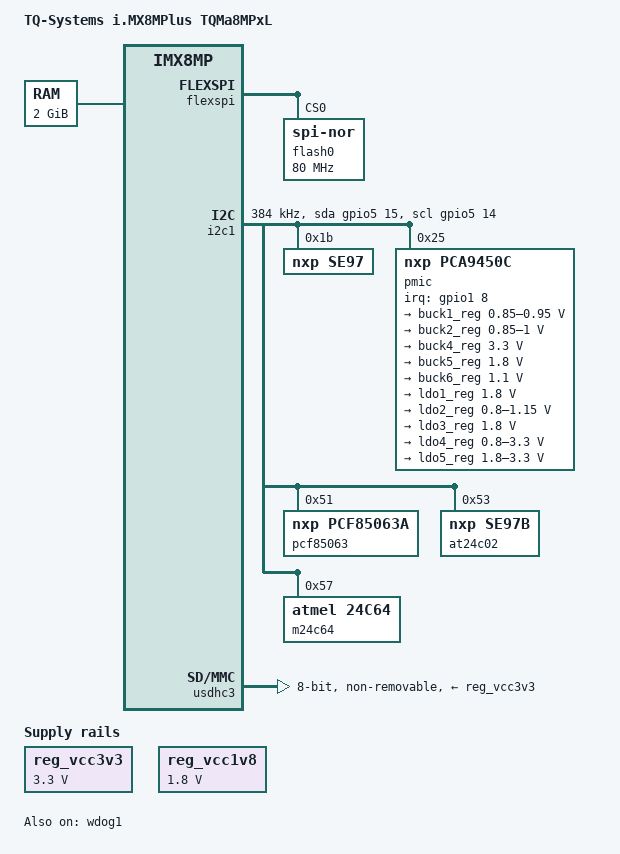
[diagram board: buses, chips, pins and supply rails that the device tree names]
// SPDX-License-Identifier: GPL-2.0-or-later OR MIT
/*
 * Copyright 2021 TQ-Systems GmbH
 */

#include "imx8mp.dtsi"

/ {
	model = "TQ-Systems i.MX8MPlus TQMa8MPxL";
	compatible = "tq,imx8mp-tqma8mpxl", "fsl,imx8mp";

	memory@40000000 {
		device_type = "memory";
		reg = <0x0 0x40000000 0 0x80000000>;
	};

	/* identical to buck4_reg, but should never change */
	reg_vcc3v3: regulator-vcc3v3 {
		compatible = "regulator-fixed";
		regulator-name = "TQMA8MPXL_VCC3V3";
		regulator-min-microvolt = <3300000>;
		regulator-max-microvolt = <3300000>;
		regulator-always-on;
	};

	/* e-MMC IO, needed for HS modes */
	reg_vcc1v8: regulator-vcc1v8 {
		compatible = "regulator-fixed";
		regulator-name = "TQMA8MPXL_VCC1V8";
		regulator-min-microvolt = <1800000>;
		regulator-max-microvolt = <1800000>;
		regulator-always-on;
	};
};

&flexspi {
	pinctrl-names = "default";
	pinctrl-0 = <&pinctrl_flexspi0>;
	num-cs = <1>;
	status = "okay";

	flash0: flash@0 {
		reg = <0>;
		#address-cells = <1>;
		#size-cells = <1>;
		compatible = "jedec,spi-nor";
		spi-max-frequency = <80000000>;
		spi-tx-bus-width = <4>;
		spi-rx-bus-width = <4>;
		/* used for macronix flash only */
		macronix,dsr = <0x3>;
		/* used for micron flash only */
		micron,dsr = <0x3>;
	};
};

&i2c1 {
	/* Errata: limit clk to <= 384000 Hz */
	clock-frequency = <384000>;
	pinctrl-names = "default", "gpio";
	pinctrl-0 = <&pinctrl_i2c1>;
	pinctrl-1 = <&pinctrl_i2c1_gpio>;
	scl-gpios = <&gpio5 14 (GPIO_ACTIVE_HIGH | GPIO_OPEN_DRAIN)>;
	sda-gpios = <&gpio5 15 (GPIO_ACTIVE_HIGH | GPIO_OPEN_DRAIN)>;
	status = "okay";

	/* NXP SE97BTP with temperature sensor + eeprom */
	se97: temperature-sensor-eeprom@1b {
		compatible = "nxp,se97", "jedec,jc-42.4-temp";
		reg = <0x1b>;
	};

	pmic: pmic@25 {
		reg = <0x25>;
		compatible = "nxp,pca9450c";
		/* PMIC PCA9450 PMIC_nINT GPIO1_IO8 */
		pinctrl-0 = <&pinctrl_pmic>;
		pinctrl-names = "default";
		interrupt-parent = <&gpio1>;
		interrupts = <8 IRQ_TYPE_LEVEL_LOW>;

		regulators {
			#address-cells = <1>;
			#size-cells = <0>;

			pca9450,pmic-buck2-uses-i2c-dvs;
			/* Run/Standby voltage */
			pca9450,pmic-buck2-dvs-voltage = <950000>, <850000>;

			/* V_0V85_SOC: 0.85 .. 0.95 */
			buck1_reg: regulator@0 {
				reg = <0>;
				regulator-compatible = "buck1";
				regulator-min-microvolt = <850000>;
				regulator-max-microvolt = <950000>;
				regulator-boot-on;
				regulator-always-on;
				regulator-ramp-delay = <3125>;
			};

			/* VDD_ARM */
			buck2_reg: regulator@1 {
				reg = <1>;
				regulator-compatible = "buck2";
				regulator-min-microvolt = <850000>;
				regulator-max-microvolt = <1000000>;
				regulator-boot-on;
				regulator-always-on;
				regulator-ramp-delay = <3125>;
			};

			/* VCC3V3 -> VMMC, ... must not be changed */
			buck4_reg: regulator@3 {
				reg = <3>;
				regulator-compatible = "buck4";
				regulator-min-microvolt = <3300000>;
				regulator-max-microvolt = <3300000>;
				regulator-boot-on;
				regulator-always-on;
			};

			/* V_1V8 -> VQMMC, SPI-NOR, ... must not be changed */
			buck5_reg: regulator@4 {
				reg = <4>;
				regulator-compatible = "buck5";
				regulator-min-microvolt = <1800000>;
				regulator-max-microvolt = <1800000>;
				regulator-boot-on;
				regulator-always-on;
			};

			buck6_reg: regulator@5 {
				reg = <5>;
				regulator-compatible = "buck6";
				regulator-min-microvolt = <1100000>;
				regulator-max-microvolt = <1100000>;
				regulator-boot-on;
				regulator-always-on;
			};

			/* V_1V8_SNVS */
			ldo1_reg: regulator@6 {
				reg = <6>;
				regulator-compatible = "ldo1";
				regulator-min-microvolt = <1800000>;
				regulator-max-microvolt = <1800000>;
				regulator-boot-on;
				regulator-always-on;
			};

			ldo2_reg: regulator@7 {
				reg = <7>;
				regulator-compatible = "ldo2";
				regulator-min-microvolt = <800000>;
				regulator-max-microvolt = <1150000>;
				/*
				 * NOTE:
				 * even if this is an unused supply, it must not
				 * disabled, otherwise the system hits an POR
				 */
				regulator-boot-on;
				regulator-always-on;
			};

			/* V_1V8_ANA */
			ldo3_reg: regulator@8 {
				reg = <8>;
				regulator-compatible = "ldo3";
				regulator-min-microvolt = <1800000>;
				regulator-max-microvolt = <1800000>;
				regulator-boot-on;
				regulator-always-on;
			};

			/* unused */
			ldo4_reg: regulator@9 {
				reg = <9>;
				regulator-compatible = "ldo4";
				regulator-min-microvolt = <800000>;
				regulator-max-microvolt = <3300000>;
			};

			/* VCC SD IO - switched using SD2 VSELECT */
			ldo5_reg: regulator@10 {
				reg = <10>;
				regulator-compatible = "ldo5";
				regulator-min-microvolt = <1800000>;
				regulator-max-microvolt = <3300000>;
			};
		};
	};

	pcf85063: rtc@51 {
		compatible = "nxp,pcf85063a";
		reg = <0x51>;
	};

	at24c02: eeprom@53 {
		compatible = "nxp,se97b", "atmel,24c02";
		reg = <0x53>;
		pagesize = <16>;
	};

	m24c64: eeprom@57 {
		compatible = "atmel,24c64";
		reg = <0x57>;
		pagesize = <32>;
	};
};

&iomuxc {
	pinctrl_flexspi0: flexspi0grp {
		fsl,pins = <
			MX8MP_IOMUXC_NAND_ALE__FLEXSPI_A_SCLK		0x142
			MX8MP_IOMUXC_NAND_CE0_B__FLEXSPI_A_SS0_B	0x82
			MX8MP_IOMUXC_NAND_DATA00__FLEXSPI_A_DATA00	0x82
			MX8MP_IOMUXC_NAND_DATA01__FLEXSPI_A_DATA01	0x82
			MX8MP_IOMUXC_NAND_DATA02__FLEXSPI_A_DATA02	0x82
			MX8MP_IOMUXC_NAND_DATA03__FLEXSPI_A_DATA03	0x82
		>;
	};

	pinctrl_i2c1: i2c1grp {
		fsl,pins = <
			MX8MP_IOMUXC_I2C1_SCL__I2C1_SCL		0x400001e2
			MX8MP_IOMUXC_I2C1_SDA__I2C1_SDA		0x400001e2
		>;
	};

	pinctrl_i2c1_gpio: i2c1grp-gpio {
		fsl,pins = <
			MX8MP_IOMUXC_I2C1_SCL__GPIO5_IO14	0x400001e2
			MX8MP_IOMUXC_I2C1_SDA__GPIO5_IO15	0x400001e2
		>;
	};

	pinctrl_pmic: pmicirq {
		fsl,pins = <
			MX8MP_IOMUXC_GPIO1_IO08__GPIO1_IO08	0x1c0
		>;
	};

	pinctrl_reg_usdhc2_vmmc: regusdhc2vmmc {
		fsl,pins = <
			MX8MP_IOMUXC_SD2_RESET_B__GPIO2_IO19	0x140
		>;
	};

	pinctrl_usdhc3: usdhc3grp {
		fsl,pins = <
			MX8MP_IOMUXC_NAND_WE_B__USDHC3_CLK	0x194
			MX8MP_IOMUXC_NAND_WP_B__USDHC3_CMD	0x1d4
			MX8MP_IOMUXC_NAND_DATA04__USDHC3_DATA0	0x1d4
			MX8MP_IOMUXC_NAND_DATA05__USDHC3_DATA1	0x1d4
			MX8MP_IOMUXC_NAND_DATA06__USDHC3_DATA2	0x1d4
			MX8MP_IOMUXC_NAND_DATA07__USDHC3_DATA3	0x1d4
			MX8MP_IOMUXC_NAND_RE_B__USDHC3_DATA4	0x1d4
			MX8MP_IOMUXC_NAND_CE2_B__USDHC3_DATA5	0x1d4
			MX8MP_IOMUXC_NAND_CE3_B__USDHC3_DATA6	0x1d4
			MX8MP_IOMUXC_NAND_CLE__USDHC3_DATA7	0x1d4
			MX8MP_IOMUXC_NAND_CE1_B__USDHC3_STROBE	0x84
			MX8MP_IOMUXC_NAND_READY_B__USDHC3_RESET_B	0x84
		>;
	};

	pinctrl_usdhc3_100mhz: usdhc3grp-100mhz {
		fsl,pins = <
			MX8MP_IOMUXC_NAND_WE_B__USDHC3_CLK	0x194
			MX8MP_IOMUXC_NAND_WP_B__USDHC3_CMD	0x1d4
			MX8MP_IOMUXC_NAND_DATA04__USDHC3_DATA0	0x1d4
			MX8MP_IOMUXC_NAND_DATA05__USDHC3_DATA1	0x1d4
			MX8MP_IOMUXC_NAND_DATA06__USDHC3_DATA2	0x1d4
			MX8MP_IOMUXC_NAND_DATA07__USDHC3_DATA3	0x1d4
			MX8MP_IOMUXC_NAND_RE_B__USDHC3_DATA4	0x1d4
			MX8MP_IOMUXC_NAND_CE2_B__USDHC3_DATA5	0x1d4
			MX8MP_IOMUXC_NAND_CE3_B__USDHC3_DATA6	0x1d4
			MX8MP_IOMUXC_NAND_CLE__USDHC3_DATA7	0x1d4
			MX8MP_IOMUXC_NAND_CE1_B__USDHC3_STROBE	0x84
			MX8MP_IOMUXC_NAND_READY_B__USDHC3_RESET_B	0x84
		>;
	};

	pinctrl_usdhc3_200mhz: usdhc3grp-200mhz {
		fsl,pins = <
			MX8MP_IOMUXC_NAND_WE_B__USDHC3_CLK	0x194
			MX8MP_IOMUXC_NAND_WP_B__USDHC3_CMD	0x1d4
			MX8MP_IOMUXC_NAND_DATA04__USDHC3_DATA0	0x1d4
			MX8MP_IOMUXC_NAND_DATA05__USDHC3_DATA1	0x1d4
			MX8MP_IOMUXC_NAND_DATA06__USDHC3_DATA2	0x1d4
			MX8MP_IOMUXC_NAND_DATA07__USDHC3_DATA3	0x1d4
			MX8MP_IOMUXC_NAND_RE_B__USDHC3_DATA4	0x1d4
			MX8MP_IOMUXC_NAND_CE2_B__USDHC3_DATA5	0x1d4
			MX8MP_IOMUXC_NAND_CE3_B__USDHC3_DATA6	0x1d4
			MX8MP_IOMUXC_NAND_CLE__USDHC3_DATA7	0x1d4
			MX8MP_IOMUXC_NAND_CE1_B__USDHC3_STROBE	0x84
			MX8MP_IOMUXC_NAND_READY_B__USDHC3_RESET_B	0x84
		>;
	};

	pinctrl_wdog: wdoggrp {
		fsl,pins = <
			MX8MP_IOMUXC_GPIO1_IO02__WDOG1_WDOG_B	0x1c4
		>;
	};
};

&usdhc3 {
	pinctrl-names = "default", "state_100mhz", "state_200mhz";
	pinctrl-0 = <&pinctrl_usdhc3>;
	pinctrl-1 = <&pinctrl_usdhc3_100mhz>;
	pinctrl-2 = <&pinctrl_usdhc3_200mhz>;
	bus-width = <8>;
	non-removable;
	no-sd;
	no-sdio;
	vmmc-supply = <&reg_vcc3v3>;
	vqmmc-supply = <&reg_vcc1v8>;
	status = "okay";
};

&wdog1 {
	pinctrl-names = "default";
	pinctrl-0 = <&pinctrl_wdog>;
	fsl,ext-reset-output;
	status = "okay";
};
